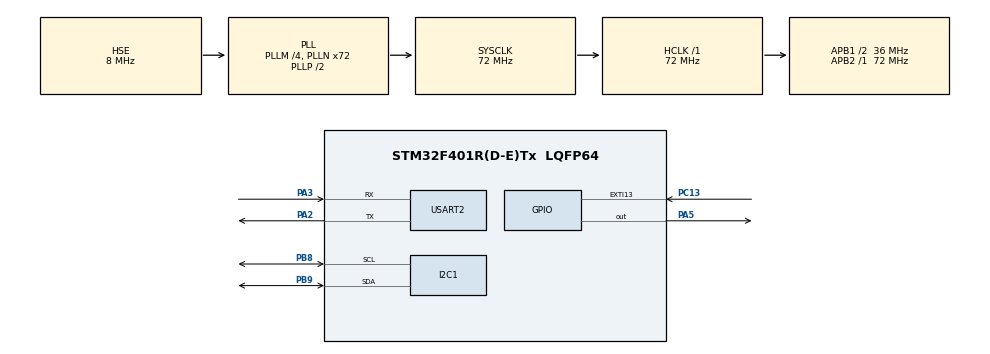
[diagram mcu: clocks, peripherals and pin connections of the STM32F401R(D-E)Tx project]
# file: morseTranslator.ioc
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Mcu.Family=STM32F4
Mcu.Name=STM32F401R(D-E)Tx
Mcu.Package=LQFP64
NVIC.EXTI15_10_IRQn=true\:0\:0\:false\:false\:true\:true\:true
NVIC.PriorityGroup=NVIC_PRIORITYGROUP_3
NVIC.TIM1_TRG_COM_TIM11_IRQn=true\:0\:0\:false\:false\:true\:true\:true
NVIC.USART2_IRQn=true\:0\:0\:false\:false\:true\:true\:true
PA13.Mode=Serial_Wire
PA13.Signal=SYS_JTMS-SWDIO
PA14.Mode=Serial_Wire
PA14.Signal=SYS_JTCK-SWCLK
PA2.Mode=Asynchronous
PA2.Signal=USART2_TX
PA3.Mode=Asynchronous
PA3.Signal=USART2_RX
PA5.Signal=GPIO_Output
PB8.Mode=I2C
PB8.Signal=I2C1_SCL
PB9.Mode=I2C
PB9.Signal=I2C1_SDA
PC13-ANTI_TAMP.GPIO_ModeDefaultEXTI=GPIO_MODE_IT_RISING_FALLING
PC13-ANTI_TAMP.GPIO_PuPd=GPIO_NOPULL
PC13-ANTI_TAMP.Signal=GPXTI13
PH0\ -\ OSC_IN.Mode=HSE-External-Oscillator
PH0\ -\ OSC_IN.Signal=RCC_OSC_IN
PH1\ -\ OSC_OUT.Mode=HSE-External-Oscillator
PH1\ -\ OSC_OUT.Signal=RCC_OSC_OUT
ProjectManager.HeapSize=0x200
ProjectManager.StackSize=0x400
ProjectManager.TargetToolchain=SW4STM32
RCC.48MHZClocksFreq_Value=48000000
RCC.AHBFreq_Value=72000000
RCC.APB1CLKDivider=RCC_HCLK_DIV2
RCC.APB1Freq_Value=36000000
RCC.APB1TimFreq_Value=72000000
RCC.APB2Freq_Value=72000000
RCC.APB2TimFreq_Value=72000000
RCC.CortexFreq_Value=72000000
RCC.HCLKFreq_Value=72000000
RCC.HSE_VALUE=8000000
RCC.HSI_VALUE=16000000
RCC.LSE_VALUE=32768
RCC.PLLM=4
RCC.PLLN=72
RCC.PLLQ=3
RCC.PLLSourceVirtual=RCC_PLLSOURCE_HSE
RCC.SYSCLKFreq_VALUE=72000000
RCC.SYSCLKSource=RCC_SYSCLKSOURCE_PLLCLK
RCC.VCOOutputFreq_Value=144000000
USART2.VirtualMode=VM_ASYNC
VP_TIM11_VS_ClockSourceINT.Mode=Enable_Timer
board=custom

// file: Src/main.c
/* USER CODE BEGIN Header */
/**
  ******************************************************************************
  * @file           : main.c
  * @brief          : Main program body
  ******************************************************************************
 MORSE CODE TRANSLATOR
 Basically communication is based on dot (short signal) and dash (long signal).
 Every character has its own code, composed of these two elements e.g:
 'a' = .-
 'b' = -...
 In my program I used binary system to represent it. Dot is 0 and dash is 1.
 The longest char is composed of 6 dots or dashes, so I decided to use uint8_t
 to describe it. Begin of dots and dashes train is marked by 1 e.g
 'a' = 0b00000101  ->first 1 is begin mark and 01 is right code
 'b' = 0b00011000  ->same situation
 This is in case of reading message from button.

 In case of transmitting message received from UART, the order of the bits
 has been reversed e.g
 'a' = 0b00000110 -> also 1 is begin mark, but this time, code is reversed
 'b' = 0b00010001 -> same
  ******************************************************************************
  */
/* USER CODE END Header */

#include "main.h"

/* USER CODE BEGIN Includes */
#include "string.h"
/* USER CODE END Includes */

/* USER CODE BEGIN PD */
#define MAX_RECEIVE_BUFFER_SIZE (uint8_t) 50
#define DOT_DURATION 300
/* USER CODE END PD */

I2C_HandleTypeDef hi2c1;

TIM_HandleTypeDef htim11;

UART_HandleTypeDef huart2;

/* USER CODE BEGIN PV */

uint32_t buttonOnTime; //time when the button was pressed
uint32_t buttonOffTime; //time when the button was released
uint8_t character = 0b00000001; //char to send
uint8_t toSendFlag = 0; //if every bits in char are set, flag 1
uint8_t spaceFlag = 0; //when end of word

uint8_t receiveByte; //char receive from UART
uint8_t receiveMessage[MAX_RECEIVE_BUFFER_SIZE]; //message receive from UART
uint8_t messageLength;
uint8_t FLAG_messageToTransmit = 0; //messege ready to transmit flag
uint8_t LCDcounter = 0;
/* USER CODE END PV */

void SystemClock_Config(void);
static void MX_GPIO_Init(void);
static void MX_TIM11_Init(void);
static void MX_USART2_UART_Init(void);
static void MX_I2C1_Init(void);
/* USER CODE BEGIN PFP */
void HAL_GPIO_EXTI_Callback(uint16_t GPIO_Pin){
	if(GPIO_Pin == GPIO_PIN_13){
		if(!HAL_GPIO_ReadPin(GPIOC,GPIO_PIN_13)){
			buttonOnTime = HAL_GetTick(); // get time of start pushing button
			HAL_GPIO_WritePin(GPIOA,GPIO_PIN_5,GPIO_PIN_SET); //set LED in high state  to facilitate broadcasting

		}
		else if(HAL_GPIO_ReadPin(GPIOC,GPIO_PIN_13)){
			HAL_GPIO_WritePin(GPIOA,GPIO_PIN_5,GPIO_PIN_RESET); //same as in set LED case

			//if the button is pressed for more than 300 ms then its DASH
			if(HAL_GetTick()-buttonOnTime>300)	{

				character = (character<<1) + 1; //
			}
			else	{
				character = character<<1;

			}
			buttonOffTime = HAL_GetTick();
			toSendFlag = 1;
			spaceFlag = 1;
		}
	}
}

void HAL_UART_RxCpltCallback(UART_HandleTypeDef *huart){

	static uint8_t receive_buffer[MAX_RECEIVE_BUFFER_SIZE] = "";
	static uint16_t counter = 0;
	static uint8_t FLAG_needsCleaning = 0;

	if (1 == FLAG_needsCleaning)
		{
			// buffer reset, set all on '\0'
			memset(receive_buffer,'\0',(MAX_RECEIVE_BUFFER_SIZE*sizeof(receive_buffer[0])));
			FLAG_needsCleaning = 0;
		}

	if (('\r' != receiveByte))
		{
			if (MAX_RECEIVE_BUFFER_SIZE >= counter)
			{
				receive_buffer[counter] = receiveByte;
			}
			else
			{
				// if buffer is overflow
				uint16_t size = 0;
				uint8_t data[MAX_RECEIVE_BUFFER_SIZE];

				size = sprintf(data,"\nBuffer overflow. Resteting buffor\n");
				HAL_UART_Transmit_IT(&huart2, data, size);

				memset(receive_buffer,'\0',(MAX_RECEIVE_BUFFER_SIZE*sizeof(receive_buffer[0])));
				counter = 0;
			}

			++counter;
		}
		else
		{

			messageLength = counter;
			counter = 0;
			FLAG_needsCleaning = 1;
			FLAG_messageToTransmit = 1;
			memcpy(receiveMessage, receive_buffer,MAX_RECEIVE_BUFFER_SIZE*sizeof(receive_buffer[0]));

		}

		HAL_UART_Receive_IT(&huart2, &receiveByte, 1u);
}

void sendChar(uint8_t*);
uint16_t signalToChar(uint8_t);
uint8_t toBinaryForm(uint8_t);
uint8_t charEnd(uint8_t);
void charTransmission(uint8_t);
void transmissionByLED(uint8_t *,uint8_t);

/* USER CODE END PFP */

int main(void)
{

  /* MCU Configuration--------------------------------------------------------*/

  /* Reset of all peripherals, Initializes the Flash interface and the Systick. */
  HAL_Init();

  /* Configure the system clock */
  SystemClock_Config();

  /* Initialize all configured peripherals */
  MX_GPIO_Init();
  MX_TIM11_Init();
  MX_USART2_UART_Init();
  MX_I2C1_Init();
  lcd_init();
  /* USER CODE BEGIN 2 */
  HAL_TIM_Base_Start_IT(&htim11);
  HAL_UART_Receive_IT(&huart2, &receiveByte, 1u);
  /* USER CODE END 2 */
  lcd_send_string("Morse Translator");
  HAL_Delay(1000);
  lcd_clear();
  lcd_put_cur(0,0);
  /* Infinite loop */
  while (1)
  {
	  if(HAL_GPIO_ReadPin(GPIOC,GPIO_PIN_13)){

	 		  if(HAL_GetTick()-buttonOffTime > DOT_DURATION*9  & spaceFlag == 1){
	 			  sendChar(" ");
	 			  character = 0b00000001;
	 			  spaceFlag = 0;
	 		  }
	 		  else if(HAL_GetTick()-buttonOffTime > DOT_DURATION*2  & toSendFlag == 1){
	 			  sendChar(signalToChar(character));
	 			  character = 0b00000001;
	 			  toSendFlag = 0;
	 		  }
	 	  }

	 	  if(FLAG_messageToTransmit==1){
	 	 		  transmissionByLED(receiveMessage,messageLength);

	 	 		  FLAG_messageToTransmit = 0;
	 	 }
}
}
void SystemClock_Config(void)
{
  RCC_OscInitTypeDef RCC_OscInitStruct = {0};
  RCC_ClkInitTypeDef RCC_ClkInitStruct = {0};

  /** Configure the main internal regulator output voltage
  */
  __HAL_RCC_PWR_CLK_ENABLE();
  __HAL_PWR_VOLTAGESCALING_CONFIG(PWR_REGULATOR_VOLTAGE_SCALE2);
  /** Initializes the CPU, AHB and APB busses clocks
  */
  RCC_OscInitStruct.OscillatorType = RCC_OSCILLATORTYPE_HSE;
  RCC_OscInitStruct.HSEState = RCC_HSE_ON;
  RCC_OscInitStruct.PLL.PLLState = RCC_PLL_ON;
  RCC_OscInitStruct.PLL.PLLSource = RCC_PLLSOURCE_HSE;
  RCC_OscInitStruct.PLL.PLLM = 4;
  RCC_OscInitStruct.PLL.PLLN = 72;
  RCC_OscInitStruct.PLL.PLLP = RCC_PLLP_DIV2;
  RCC_OscInitStruct.PLL.PLLQ = 3;
  if (HAL_RCC_OscConfig(&RCC_OscInitStruct) != HAL_OK)
  {
    Error_Handler();
  }
  /** Initializes the CPU, AHB and APB busses clocks
  */
  RCC_ClkInitStruct.ClockType = RCC_CLOCKTYPE_HCLK|RCC_CLOCKTYPE_SYSCLK
                              |RCC_CLOCKTYPE_PCLK1|RCC_CLOCKTYPE_PCLK2;
  RCC_ClkInitStruct.SYSCLKSource = RCC_SYSCLKSOURCE_PLLCLK;
  RCC_ClkInitStruct.AHBCLKDivider = RCC_SYSCLK_DIV1;
  RCC_ClkInitStruct.APB1CLKDivider = RCC_HCLK_DIV2;
  RCC_ClkInitStruct.APB2CLKDivider = RCC_HCLK_DIV1;

  if (HAL_RCC_ClockConfig(&RCC_ClkInitStruct, FLASH_LATENCY_2) != HAL_OK)
  {
    Error_Handler();
  }
}

static void MX_I2C1_Init(void)
{

  hi2c1.Instance = I2C1;
  hi2c1.Init.ClockSpeed = 100000;
  hi2c1.Init.DutyCycle = I2C_DUTYCYCLE_2;
  hi2c1.Init.OwnAddress1 = 0;
  hi2c1.Init.AddressingMode = I2C_ADDRESSINGMODE_7BIT;
  hi2c1.Init.DualAddressMode = I2C_DUALADDRESS_DISABLE;
  hi2c1.Init.OwnAddress2 = 0;
  hi2c1.Init.GeneralCallMode = I2C_GENERALCALL_DISABLE;
  hi2c1.Init.NoStretchMode = I2C_NOSTRETCH_DISABLE;
  if (HAL_I2C_Init(&hi2c1) != HAL_OK)
  {
    Error_Handler();
  }

}

static void MX_TIM11_Init(void)
{

  htim11.Instance = TIM11;
  htim11.Init.Prescaler = 0;
  htim11.Init.CounterMode = TIM_COUNTERMODE_UP;
  htim11.Init.Period = 0;
  htim11.Init.ClockDivision = TIM_CLOCKDIVISION_DIV1;
  htim11.Init.AutoReloadPreload = TIM_AUTORELOAD_PRELOAD_DISABLE;
  if (HAL_TIM_Base_Init(&htim11) != HAL_OK)
  {
    Error_Handler();
  }

}

static void MX_USART2_UART_Init(void)
{

  huart2.Instance = USART2;
  huart2.Init.BaudRate = 115200;
  huart2.Init.WordLength = UART_WORDLENGTH_8B;
  huart2.Init.StopBits = UART_STOPBITS_1;
  huart2.Init.Parity = UART_PARITY_NONE;
  huart2.Init.Mode = UART_MODE_TX_RX;
  huart2.Init.HwFlowCtl = UART_HWCONTROL_NONE;
  huart2.Init.OverSampling = UART_OVERSAMPLING_16;
  if (HAL_UART_Init(&huart2) != HAL_OK)
  {
    Error_Handler();
  }

}

static void MX_GPIO_Init(void)
{
  GPIO_InitTypeDef GPIO_InitStruct = {0};

  /* GPIO Ports Clock Enable */
  __HAL_RCC_GPIOC_CLK_ENABLE();
  __HAL_RCC_GPIOH_CLK_ENABLE();
  __HAL_RCC_GPIOA_CLK_ENABLE();
  __HAL_RCC_GPIOB_CLK_ENABLE();

  /*Configure GPIO pin Output Level */
  HAL_GPIO_WritePin(GPIOA, GPIO_PIN_5, GPIO_PIN_RESET);

  /*Configure GPIO pin : PC13 */
  GPIO_InitStruct.Pin = GPIO_PIN_13;
  GPIO_InitStruct.Mode = GPIO_MODE_IT_RISING_FALLING;
  GPIO_InitStruct.Pull = GPIO_NOPULL;
  HAL_GPIO_Init(GPIOC, &GPIO_InitStruct);

  /*Configure GPIO pin : PA5 */
  GPIO_InitStruct.Pin = GPIO_PIN_5;
  GPIO_InitStruct.Mode = GPIO_MODE_OUTPUT_PP;
  GPIO_InitStruct.Pull = GPIO_NOPULL;
  GPIO_InitStruct.Speed = GPIO_SPEED_FREQ_LOW;
  HAL_GPIO_Init(GPIOA, &GPIO_InitStruct);

  /* EXTI interrupt init*/
  HAL_NVIC_SetPriority(EXTI15_10_IRQn, 0, 0);
  HAL_NVIC_EnableIRQ(EXTI15_10_IRQn);

}

/* USER CODE BEGIN 4 */
uint16_t signalToChar(uint8_t ch){
		uint16_t charToSend;
		switch(ch){
	  	  case 0b00000101:
		  	  charToSend = "a";
		  break;
	  	  case 0b00011000:
		  	  charToSend = "b";
		  break;
	  	  case 0b00011010:
		  	  charToSend = "c";
		  break;
	  	  case 0b00001100:
		  	  charToSend = "d";
		  break;
	  	  case 0b00000010:
		  	  charToSend = "e";
		  break;
	  	  case 0b00010010:
		  	  charToSend = "f";
		  break;
	  	  case 0b00001110:
		  	  charToSend = "g";
		  break;
	  	  case 0b00010000:
		  	  charToSend = "h";
		  break;
	  	  case 0b00000100:
		  	  charToSend = "i";
		  break;
	  	  case 0b00010111:
		  	  charToSend = "j";
		  break;
	  	  case 0b00001101:
		  	  charToSend = "k";
		  break;
	  	  case 0b00010100:
		  	  charToSend = "l";
		  break;
	  	  case 0b00000111:
		  	  charToSend = "m";
		  break;
	  	  case 0b00000110:
		  	  charToSend = "n";
		  break;
	  	  case 0b00001111:
		  	  charToSend = "o";
		  break;
	  	  case 0b00010110:
		  	  charToSend = "p";
		  break;
	  	  case 0b00011101:
		  	  charToSend = "q";
		  break;
	  	  case 0b00001010:
		  	  charToSend = "r";
		  break;
	  	  case 0b00001000:
		  	  charToSend = "s";
		  break;
	  	  case 0b00000011:
		  	  charToSend = "t";
		  break;
	  	  case 0b00001001:
		  	  charToSend = "u";
		  break;
	  	  case 0b0010001:
		  	  charToSend = "v";
		  break;
	  	  case 0b00001011:
		  	  charToSend = "w";
		  break;
	  	  case 0b00011001:
		  	  charToSend = "x";
		  break;
	  	  case 0b00011011:
		  	  charToSend = "y";
		  break;
	  	  case 0b00011100:
		  	  charToSend = "z";
		  break;
	  	  case 0b00101111:
		  	  charToSend = "1";
		  break;
	  	  case 0b00100111:
		  	  charToSend = "2";
		  break;
	  	  case 0b00100011:
		  	  charToSend = "3";
		  break;
	  	  case 0b00100001:
		  	  charToSend = "4";
		  break;
	  	  case 0b00100000:
		  	  charToSend = "5";
		  break;
	  	  case 0b00110000:
		  	  charToSend = "6";
		  break;
	  	  case 0b00111000:
		  	  charToSend = "7";
		  break;
	  	  case 0b00111100:
		  	  charToSend = "8";
		  break;
	  	  case 0b00111110:
		  	  charToSend = "9";
		  break;
	  	  case 0b00111111:
		  	  charToSend = "0";
		  break;
	  	  case 0b01010101:
		  	  charToSend = ".";
		  break;
	  	  case 0b01110011:
		  	  charToSend = ",";
		  break;
	  	  case 0b01011110:
		  	  charToSend = "\'";
		  break;
	  	  case 0b01010010:
		  	  charToSend = "\"";
		  break;
	  	  case 0b01001101:
		  	  charToSend = "_";
		  break;
	  	  case 0b01111000:
		  	  charToSend = ":";
		  break;
	  	  case 0b01101010:
		  	  charToSend = ";";
		  break;
	  	  case 0b01001100:
		  	  charToSend = "?";
		  break;
	  	  case 0b01101011:
		  	  charToSend = "!";
		  break;
	  	  case 0b01100001:
		  	  charToSend = "-";
		  break;
	  	  case 0b00101010:
		  	  charToSend = "+";
		  break;
	  	  case 0b00110010:
		  	  charToSend = "/";
		  break;
	  	  case 0b00110110:
		  	  charToSend = "(";
		  break;
	  	  case 0b01101101:
		  	  charToSend = ")";
		  break;
	  	  case 0b00110001:
		  	  charToSend = "=";
		  break;
	  	  case 0b01011010:
		  	  charToSend = "@";
		  break;
	  	  default:
	  		  charToSend = "no such char\n";

	  }
	  return charToSend;
}

void sendChar(uint8_t *str){
	uint8_t data[50];//
	uint16_t size = 0; //

	size = sprintf(data,str);
	HAL_UART_Transmit_IT(&huart2, data, size);
	LCDcounter ++;

	if(LCDcounter==17)	lcd_put_cur(1,0);
	else if(LCDcounter>32){
		lcd_clear();
		lcd_put_cur(0,0);
		LCDcounter = 0;
	}
	lcd_send_string(str);
}

uint8_t toBinaryForm(uint8_t ch){
	switch(ch){
			case 'a':
				return 0b00000110;
			break;
			case 'b':
				return 0b00010001;
			break;
			case 'c':
				return 0b00010101;
			break;
			case 'd':
				return 0b00001001;
			break;
			case 'e':
				return 0b00000010;
			break;
			case 'f':
				return 0b00010100;
			break;
			case 'g':
				return 0b00001011;
			break;
			case 'h':
				return 0b00010000;
			break;
			case 'i':
				return 0b00000100;
			break;
			case 'j':
				return 0b00011110;
			break;
			case 'k':
				return 0b00001101;
			break;
			case 'l':
				return 0b00010010;
			break;
			case 'm':
				return 0b00000111;
			break;
			case 'n':
				return 0b00000101;
			break;
			case 'o':
				return 0b00001111;
			break;
			case 'p':
				return 0b00010110;
			break;
			case 'q':
				return 0b00011011;
			break;
			case 'r':
				return 0b00001010;
			break;
			case 's':
				return 0b00001000;
			break;
			case 't':
				return 0b00000011;
			break;
			case 'u':
				return 0b00001100;
			break;
			case 'v':
				return 0b00010001;
			break;
			case 'w':
				return 0b00001110;
			break;
			case 'x':
				return 0b00011001;
			break;
			case 'y':
				return 0b00011011;
			break;
			case 'z':
				return 0b00010011;
			break;
			case '9':
				return 0b00111110;
			break;
			case '8':
				return 0b00111100;
			break;
			case '7':
				return 0b00111000;
			break;
			case '6':
				return 0b00110000;
			break;
			case '5':
				return 0b00100000;
			break;
			case '4':
				return 0b00110000;
			break;
			case '3':
				return 0b00111000;
			break;
			case '2':
				return 0b00111100;
			break;
			case '1':
				return 0b00111110;
			break;
			case '0':
				return 0b00111111;
			break;
			case '.':
				return 0b01101010;
			break;
			case ',':
				return 0b01110011;
			break;
			case '\'':
				return 0b01010010;
			break;
			case '\"':
				return 0b01010010;
			break;
			case '_':
				return 0b01101100;
			break;
			case ':':
				return 0b01000111;
			break;
			case ';':
				return 0b01010101;
			break;
			case '?':
				return 0b01001100;
			break;
			case '!':
				return 0b01110101;
			break;
			case '-':
				return 0b01100001;
			break;
			case '+':
				return 0b00101010;
			break;
			case '/':
				return 0b00101001;
			break;

			case '(':
				return 0b00101101;
			break;
			case ')':
				return 0b01101101;
			break;
			case '=':
				return 0b00110001;
			break;
			case '@':
				return 0b01010110;
			break;
			default:
				return 0b00000001;
			break;
	}
}

uint8_t charEnd(uint8_t cha){
    uint8_t isFinished = 0;
    if(cha&1){
        for(uint8_t i=1;i<8;i++)
            isFinished += cha&(1<<i);

        if(isFinished == 0) return 1;
        else return 0;
    }
    return 0;
}

void charTransmission(uint8_t ch){

	for(uint8_t i=0;i<8;i++){
	        if(!charEnd(ch>>i)){

	        	if(ch&(1<<i)){ // DASH transmission, duration 4 times longer than DOT
	        		HAL_GPIO_WritePin(GPIOA,GPIO_PIN_5,GPIO_PIN_SET);
	        		HAL_Delay(DOT_DURATION*4);
	        		HAL_GPIO_WritePin(GPIOA,GPIO_PIN_5,GPIO_PIN_RESET);
	        	}
	        	else{
	        		HAL_GPIO_WritePin(GPIOA,GPIO_PIN_5,GPIO_PIN_SET);
	        		HAL_Delay(DOT_DURATION);
	        		HAL_GPIO_WritePin(GPIOA,GPIO_PIN_5,GPIO_PIN_RESET);
	        	}

	        }
	        else break;
	        HAL_Delay(DOT_DURATION); //delay between impluses is one DOT
	    }

}

void transmissionByLED(uint8_t *toSend,uint8_t len){

	HAL_UART_Transmit_IT(&huart2, toSend, len*sizeof(toSend[0]));
	for(uint8_t j=0;j<len;j++){
		if(toSend[j]==' ')	HAL_Delay(DOT_DURATION*7); //space it is 7 DOT
		else{
			charTransmission(toBinaryForm(toSend[j]));
			HAL_Delay(DOT_DURATION*4); //delay between chars is one DASH, so 4 DOT
		}

	}
}
/* USER CODE END 4 */

void Error_Handler(void)
{
}

/************************ (C) COPYRIGHT STMicroelectronics *****END OF FILE****/
